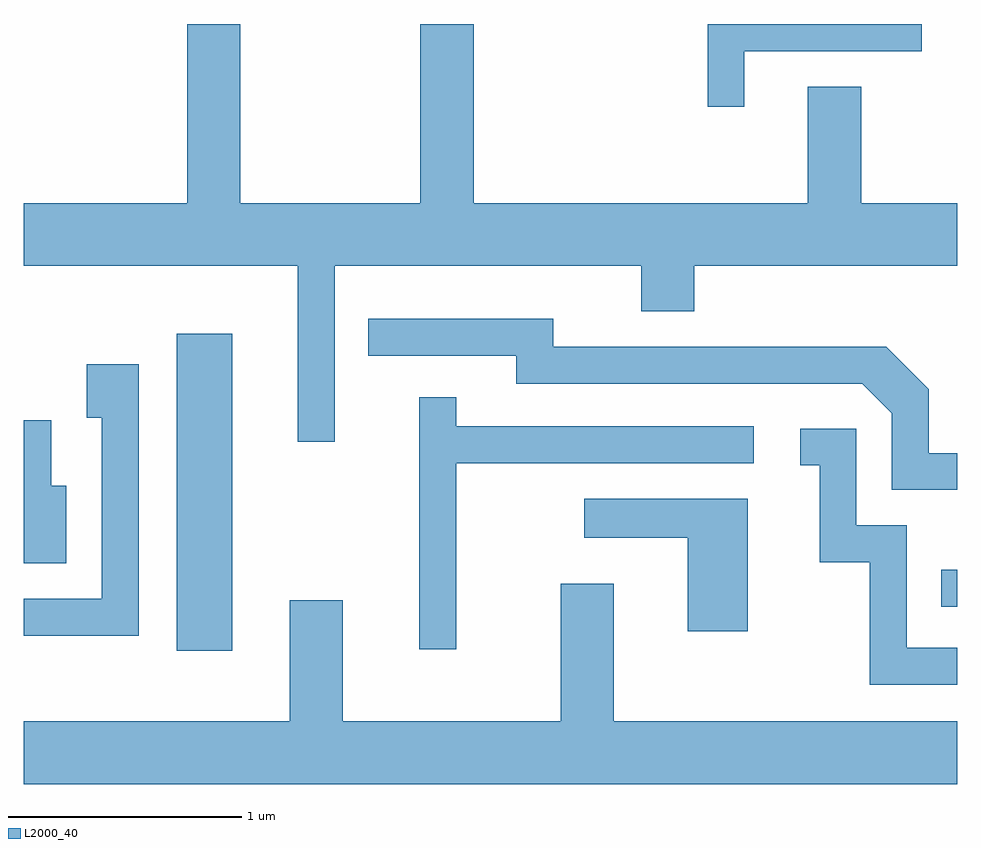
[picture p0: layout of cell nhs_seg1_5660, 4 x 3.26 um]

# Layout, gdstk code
import gdstk
lib = gdstk.Library(unit=1e-6, precision=1e-09)
def R(c, l, rs):  # rectangles x0, y0, x1, y1
    for r in rs: c.add(gdstk.rectangle(r[:2], r[2:], *l))
def P(c, l, *ps):  # polygons
    for p in ps: c.add(gdstk.Polygon(p, *l))
L2000_40 = (2000, 40)

nhs_seg1_5660 = lib.new_cell('nhs_seg1_5660')
R(nhs_seg1_5660, L2000_40, [(356.266,909.026,356.504,910.384), (359.543,909.216,359.611,909.374)])
P(nhs_seg1_5660, L2000_40, [(356.944,910.676),(358.256,910.676),(358.256,910.481),(358.484,910.481),(358.484,910.676),(359.611,910.676),(359.611,910.944),(359.199,910.944),(359.199,911.444),(358.971,911.444),(358.971,910.944),(357.539,910.944),(357.539,911.712),(357.311,911.712),(357.311,910.944),(356.539,910.944),(356.539,911.712),(356.311,911.712),(356.311,910.944),(355.611,910.944),(355.611,910.676),(356.786,910.676),(356.786,909.923),(356.944,909.923)],
  [(358.699,911.596),(359.459,911.596),(359.459,911.712),(358.541,911.712),(358.541,911.358),(358.699,911.358)],
  [(359.611,909.874),(359.489,909.874),(359.489,910.147),(359.307,910.329),(357.879,910.329),(357.879,910.449),(357.088,910.449),(357.088,910.291),(357.721,910.291),(357.721,910.171),(359.204,910.171),(359.331,910.044),(359.331,909.716),(359.611,909.716)],
  [(356.104,910.254),(355.881,910.254),(355.881,910.026),(355.946,910.026),(355.946,909.249),(355.611,909.249),(355.611,909.091),(356.104,909.091)],
  [(357.464,909.831),(358.738,909.831),(358.738,909.989),(357.464,909.989),(357.464,910.113),(357.306,910.113),(357.306,909.033),(357.464,909.033)],
  [(355.794,909.734),(355.729,909.734),(355.729,910.014),(355.611,910.014),(355.611,909.401),(355.794,909.401)],
  [(359.611,909.039),(359.394,909.039),(359.394,909.564),(359.179,909.564),(359.179,909.979),(358.938,909.979),(358.938,909.821),(359.021,909.821),(359.021,909.406),(359.236,909.406),(359.236,908.881),(359.611,908.881)],
  [(358.714,909.679),(358.013,909.679),(358.013,909.511),(358.456,909.511),(358.456,909.111),(358.714,909.111)],
  [(359.611,908.724),(358.139,908.724),(358.139,909.314),(357.911,909.314),(357.911,908.724),(356.979,908.724),(356.979,909.244),(356.751,909.244),(356.751,908.724),(355.611,908.724),(355.611,908.456),(359.611,908.456)])

lib.write_gds('nhs_seg1_5660.gds')
